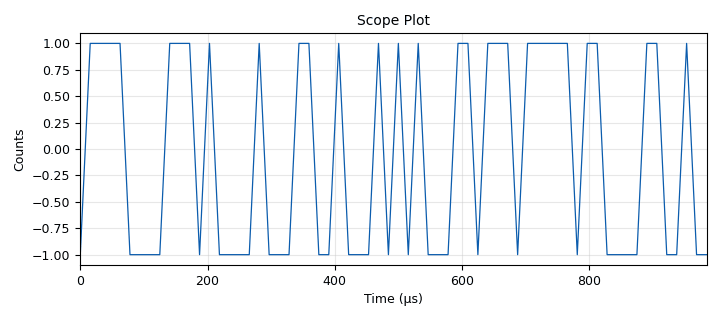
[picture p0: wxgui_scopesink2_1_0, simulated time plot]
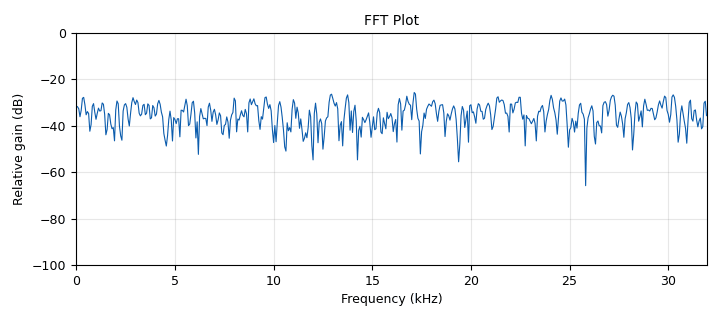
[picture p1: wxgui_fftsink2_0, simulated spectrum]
<?xml version='1.0' encoding='utf-8'?>
<flow_graph>
<block>
<key>options</key>
<param><key>id</key><value>top_block</value></param>
<param><key>generate_options</key><value>wx_gui</value></param>
<param><key>category</key><value>Custom</value></param>
</block>
<block>
<key>variable</key>
<param><key>id</key><value>samp_rate</value></param>
<param><key>value</key><value>64000</value></param>
</block>
<block>
<key>root_raised_cosine_filter</key>
<param><key>id</key><value>root_raised_cosine_filter_0</value></param>
<param><key>_enabled</key><value>False</value></param>
<param><key>type</key><value>fir_filter_ccf</value></param>
<param><key>decim</key><value>1</value></param>
<param><key>gain</key><value>4</value></param>
<param><key>samp_rate</key><value>samp_rate</value></param>
<param><key>sym_rate</key><value>1000</value></param>
<param><key>alpha</key><value>0.35</value></param>
<param><key>ntaps</key><value>127</value></param>
</block>
<block>
<key>blks2_error_rate</key>
<param><key>id</key><value>blks2_error_rate_0</value></param>
<param><key>_enabled</key><value>False</value></param>
<param><key>type</key><value>'BER'</value></param>
<param><key>win_size</key><value>1000000</value></param>
<param><key>bits_per_symbol</key><value>2</value></param>
</block>
<block>
<key>blks2_packet_encoder</key>
<param><key>id</key><value>blks2_packet_encoder_0</value></param>
<param><key>_enabled</key><value>False</value></param>
<param><key>type</key><value>float</value></param>
<param><key>samples_per_symbol</key><value>1</value></param>
<param><key>bits_per_symbol</key><value>2</value></param>
<param><key>preamble</key><value></value></param>
<param><key>access_code</key><value></value></param>
<param><key>pad_for_usrp</key><value>True</value></param>
<param><key>payload_length</key><value>0</value></param>
</block>
<block>
<key>wxgui_numbersink2</key>
<param><key>id</key><value>wxgui_numbersink2_0</value></param>
<param><key>_enabled</key><value>False</value></param>
<param><key>type</key><value>float</value></param>
<param><key>title</key><value>BER</value></param>
<param><key>units</key><value>%</value></param>
<param><key>samp_rate</key><value>samp_rate</value></param>
<param><key>min_value</key><value>0</value></param>
<param><key>max_value</key><value>1</value></param>
<param><key>factor</key><value>100</value></param>
<param><key>decimal_places</key><value>4</value></param>
<param><key>ref_level</key><value>0</value></param>
<param><key>number_rate</key><value>15</value></param>
<param><key>peak_hold</key><value>False</value></param>
<param><key>average</key><value>False</value></param>
<param><key>avg_alpha</key><value>0</value></param>
<param><key>show_gauge</key><value>True</value></param>
</block>
<block>
<key>wxgui_scopesink2</key>
<param><key>id</key><value>wxgui_scopesink2_1_0</value></param>
<param><key>type</key><value>float</value></param>
<param><key>title</key><value>Scope Plot</value></param>
<param><key>samp_rate</key><value>samp_rate</value></param>
<param><key>v_scale</key><value>0</value></param>
<param><key>v_offset</key><value>0</value></param>
<param><key>t_scale</key><value>0</value></param>
<param><key>ac_couple</key><value>False</value></param>
<param><key>xy_mode</key><value>False</value></param>
<param><key>num_inputs</key><value>1</value></param>
<param><key>trig_mode</key><value>wxgui.TRIG_MODE_AUTO</value></param>
<param><key>y_axis_label</key><value>Counts</value></param>
</block>
<block>
<key>blks2_packet_encoder</key>
<param><key>id</key><value>blks2_packet_encoder_0_0</value></param>
<param><key>_enabled</key><value>False</value></param>
<param><key>type</key><value>float</value></param>
<param><key>samples_per_symbol</key><value>1</value></param>
<param><key>bits_per_symbol</key><value>2</value></param>
<param><key>preamble</key><value></value></param>
<param><key>access_code</key><value></value></param>
<param><key>pad_for_usrp</key><value>True</value></param>
<param><key>payload_length</key><value>0</value></param>
</block>
<block>
<key>blocks_uchar_to_float</key>
<param><key>id</key><value>blocks_uchar_to_float_0</value></param>
</block>
<block>
<key>blocks_multiply_const_vxx</key>
<param><key>id</key><value>blocks_multiply_const_vxx_0</value></param>
<param><key>type</key><value>float</value></param>
<param><key>const</key><value>2</value></param>
</block>
<block>
<key>blocks_add_const_vxx</key>
<param><key>id</key><value>blocks_add_const_vxx_0</value></param>
<param><key>type</key><value>float</value></param>
<param><key>const</key><value>-1</value></param>
</block>
<block>
<key>analog_random_source_x</key>
<param><key>id</key><value>analog_random_source_x_0</value></param>
<param><key>type</key><value>byte</value></param>
<param><key>min</key><value>0</value></param>
<param><key>max</key><value>2</value></param>
<param><key>num_samps</key><value>1000</value></param>
<param><key>repeat</key><value>True</value></param>
</block>
<block>
<key>low_pass_filter</key>
<param><key>id</key><value>low_pass_filter_0</value></param>
<param><key>_enabled</key><value>False</value></param>
<param><key>type</key><value>fir_filter_fff</value></param>
<param><key>decim</key><value>1</value></param>
<param><key>gain</key><value>1</value></param>
<param><key>samp_rate</key><value>samp_rate</value></param>
<param><key>cutoff_freq</key><value>10000</value></param>
<param><key>width</key><value>1000</value></param>
<param><key>win</key><value>firdes.WIN_HAMMING</value></param>
</block>
<block>
<key>wxgui_scopesink2</key>
<param><key>id</key><value>wxgui_scopesink2_1</value></param>
<param><key>_enabled</key><value>False</value></param>
<param><key>type</key><value>float</value></param>
<param><key>title</key><value>Scope Plot</value></param>
<param><key>samp_rate</key><value>samp_rate</value></param>
<param><key>v_scale</key><value>0</value></param>
<param><key>v_offset</key><value>0</value></param>
<param><key>t_scale</key><value>0</value></param>
<param><key>ac_couple</key><value>False</value></param>
<param><key>xy_mode</key><value>False</value></param>
<param><key>num_inputs</key><value>1</value></param>
<param><key>trig_mode</key><value>wxgui.TRIG_MODE_AUTO</value></param>
<param><key>y_axis_label</key><value>Counts</value></param>
</block>
<block>
<key>blocks_multiply_xx</key>
<param><key>id</key><value>blocks_multiply_xx_0</value></param>
<param><key>type</key><value>float</value></param>
</block>
<block>
<key>wxgui_fftsink2</key>
<param><key>id</key><value>wxgui_fftsink2_0</value></param>
<param><key>type</key><value>float</value></param>
<param><key>title</key><value>FFT Plot</value></param>
<param><key>samp_rate</key><value>samp_rate</value></param>
<param><key>baseband_freq</key><value>0</value></param>
<param><key>y_per_div</key><value>10</value></param>
<param><key>y_divs</key><value>10</value></param>
<param><key>ref_level</key><value>0</value></param>
<param><key>ref_scale</key><value>2.0</value></param>
<param><key>fft_size</key><value>1024</value></param>
<param><key>fft_rate</key><value>15</value></param>
<param><key>peak_hold</key><value>False</value></param>
<param><key>average</key><value>False</value></param>
<param><key>avg_alpha</key><value>0</value></param>
<param><key>win</key><value>None</value></param>
<param><key>freqvar</key><value>None</value></param>
</block>
<block>
<key>blocks_multiply_xx</key>
<param><key>id</key><value>blocks_multiply_xx_0_0</value></param>
<param><key>_enabled</key><value>False</value></param>
<param><key>type</key><value>float</value></param>
</block>
<block>
<key>blocks_throttle</key>
<param><key>id</key><value>blocks_throttle_0_0</value></param>
<param><key>type</key><value>byte</value></param>
<param><key>samples_per_second</key><value>64000</value></param>
</block>
<block>
<key>analog_sig_source_x</key>
<param><key>id</key><value>analog_sig_source_x_0</value></param>
<param><key>type</key><value>float</value></param>
<param><key>samp_rate</key><value>samp_rate</value></param>
<param><key>waveform</key><value>analog.GR_SIN_WAVE</value></param>
<param><key>freq</key><value>10000</value></param>
<param><key>amp</key><value>1</value></param>
<param><key>offset</key><value>0</value></param>
</block>
<connection><source_block_id>blks2_packet_encoder_0_0</source_block_id><sink_block_id>blks2_error_rate_0</sink_block_id><source_key>0</source_key><sink_key>0</sink_key></connection>
<connection><source_block_id>blks2_packet_encoder_0</source_block_id><sink_block_id>blks2_error_rate_0</sink_block_id><source_key>0</source_key><sink_key>1</sink_key></connection>
<connection><source_block_id>analog_sig_source_x_0</source_block_id><sink_block_id>blocks_multiply_xx_0_0</sink_block_id><source_key>0</source_key><sink_key>1</sink_key></connection>
<connection><source_block_id>analog_sig_source_x_0</source_block_id><sink_block_id>blocks_multiply_xx_0</sink_block_id><source_key>0</source_key><sink_key>1</sink_key></connection>
<connection><source_block_id>blocks_multiply_xx_0</source_block_id><sink_block_id>blocks_multiply_xx_0_0</sink_block_id><source_key>0</source_key><sink_key>0</sink_key></connection>
<connection><source_block_id>low_pass_filter_0</source_block_id><sink_block_id>wxgui_scopesink2_1</sink_block_id><source_key>0</source_key><sink_key>0</sink_key></connection>
<connection><source_block_id>blocks_multiply_xx_0_0</source_block_id><sink_block_id>low_pass_filter_0</sink_block_id><source_key>0</source_key><sink_key>0</sink_key></connection>
<connection><source_block_id>blks2_error_rate_0</source_block_id><sink_block_id>wxgui_numbersink2_0</sink_block_id><source_key>0</source_key><sink_key>0</sink_key></connection>
<connection><source_block_id>analog_random_source_x_0</source_block_id><sink_block_id>blocks_throttle_0_0</sink_block_id><source_key>0</source_key><sink_key>0</sink_key></connection>
<connection><source_block_id>blocks_throttle_0_0</source_block_id><sink_block_id>blocks_uchar_to_float_0</sink_block_id><source_key>0</source_key><sink_key>0</sink_key></connection>
<connection><source_block_id>blocks_add_const_vxx_0</source_block_id><sink_block_id>wxgui_scopesink2_1_0</sink_block_id><source_key>0</source_key><sink_key>0</sink_key></connection>
<connection><source_block_id>blocks_add_const_vxx_0</source_block_id><sink_block_id>blocks_multiply_xx_0</sink_block_id><source_key>0</source_key><sink_key>0</sink_key></connection>
<connection><source_block_id>blocks_uchar_to_float_0</source_block_id><sink_block_id>blocks_multiply_const_vxx_0</sink_block_id><source_key>0</source_key><sink_key>0</sink_key></connection>
<connection><source_block_id>blocks_multiply_const_vxx_0</source_block_id><sink_block_id>blocks_add_const_vxx_0</sink_block_id><source_key>0</source_key><sink_key>0</sink_key></connection>
<connection><source_block_id>blocks_multiply_xx_0_0</source_block_id><sink_block_id>wxgui_scopesink2_1</sink_block_id><source_key>0</source_key><sink_key>0</sink_key></connection>
<connection><source_block_id>blocks_multiply_xx_0</source_block_id><sink_block_id>wxgui_fftsink2_0</sink_block_id><source_key>0</source_key><sink_key>0</sink_key></connection>
</flow_graph>
